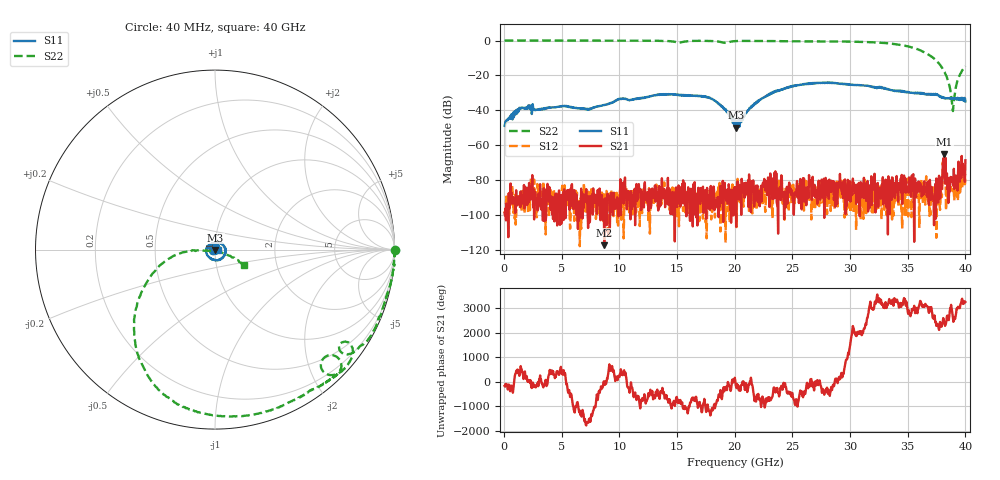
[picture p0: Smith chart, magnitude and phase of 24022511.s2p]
! 3/27/2024 10:27:58 AM
! D:\MS4647AVNA\292M185F 240225XX\24022511.S2P
! CHANNEL.1
! TR.MEASUREMENT
! CORRECTED.DATA
# GHZ S RI R 50.0
! FREQ.GHZ  S11RE  S11IM  S21RE  S21IM  S12RE  S12IM  S22RE  S22IM
!; PortSelection: Port_12
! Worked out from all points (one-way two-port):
!   1000 points, 40 MHz to 40 GHz, reference 50 ohm
!   highest |S21| = -65.03 dB at 38.16 GHz (marker M1); lowest = -117.1 dB at 8.68 GHz (marker M2)
!   lowest |S11| = -49.9 dB at 20.12 GHz (marker M3), VSWR 1.01, Z = 50.2 - j0.268 ohm
!   |S11| at or under -10 dB: start of sweep to end of sweep
!   |S22| runs from -40.3 to 0.0 dB; largest |S21 - S12| = 0.00063
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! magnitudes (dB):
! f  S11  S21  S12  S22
! 40 MHz  -48.8  -98.5  -97.5  0.0
! 1.48 GHz  -38.6  -93.9  -91.0  0.0
! 6.72 GHz  -39.0  -94.7  -93.2  -0.1
! 8.68 GHz  -36.8  -117.1  -88.1  -0.1
! 10.04 GHz  -33.5  -90.1  -86.5  -0.1
! 13.36 GHz  -30.8  -97.2  -90.2  -0.2
! 17.84 GHz  -32.7  -96.8  -88.9  -0.2
! 19.16 GHz  -39.5  -89.3  -88.7  -1.3
! 20.04 GHz  -45.7  -93.8  -83.7  -0.3
! 20.12 GHz  -49.9  -106.5  -84.5  -0.3
! 21.52 GHz  -37.7  -86.5  -98.9  -0.3
! 22.96 GHz  -30.7  -86.2  -77.6  -0.3
! 26.68 GHz  -24.7  -91.1  -87.3  -0.5
! 33.36 GHz  -28.1  -84.6  -87.5  -1.7
! 36.48 GHz  -30.5  -86.5  -87.0  -6.9
! 37.8 GHz  -32.2  -90.3  -96.9  -13.9
! 38.16 GHz  -32.6  -65.0  -78.8  -17.8
! 38.52 GHz  -33.1  -93.0  -91.8  -23.5
! 38.76 GHz  -33.2  -79.8  -84.7  -31.5
! 38.92 GHz  -33.2  -81.0  -83.8  -40.3
! 39.44 GHz  -33.1  -74.0  -86.4  -20.8
! 40 GHz  -34.8  -68.5  -76.5  -14.7
